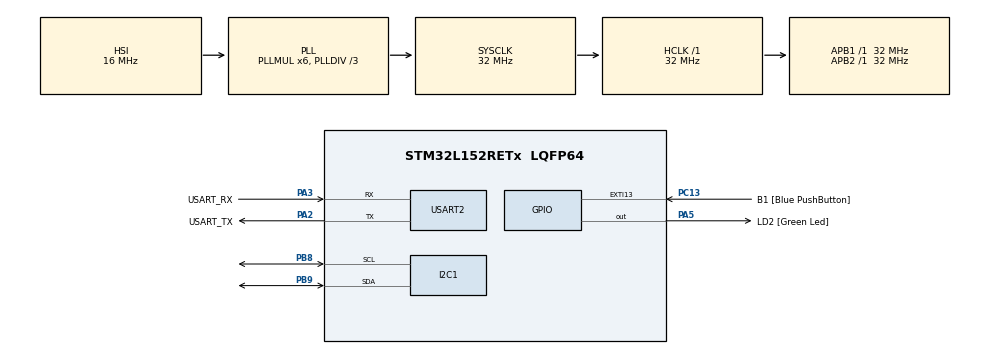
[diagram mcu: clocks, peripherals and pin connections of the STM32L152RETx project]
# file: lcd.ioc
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Mcu.Family=STM32L1
Mcu.Name=STM32L152RETx
Mcu.Package=LQFP64
NVIC.PriorityGroup=NVIC_PRIORITYGROUP_0
PA13.GPIO_Label=TMS
PA13.Mode=Serial_Wire
PA13.Signal=SYS_JTMS-SWDIO
PA14.GPIO_Label=TCK
PA14.Mode=Serial_Wire
PA14.Signal=SYS_JTCK-SWCLK
PA2.GPIO_Label=USART_TX
PA2.Mode=Asynchronous
PA2.Signal=USART2_TX
PA3.GPIO_Label=USART_RX
PA3.Mode=Asynchronous
PA3.Signal=USART2_RX
PA5.GPIO_Label=LD2 [Green Led]
PA5.Signal=GPIO_Output
PB3.GPIO_Label=SWO
PB3.Signal=SYS_JTDO-TRACESWO
PB8.Mode=I2C
PB8.Signal=I2C1_SCL
PB9.Mode=I2C
PB9.Signal=I2C1_SDA
PC13-WKUP2.GPIO_Label=B1 [Blue PushButton]
PC13-WKUP2.Signal=GPXTI13
PC14-OSC32_IN.Mode=LSE-External-Oscillator
PC14-OSC32_IN.Signal=RCC_OSC32_IN
PC15-OSC32_OUT.Mode=LSE-External-Oscillator
PC15-OSC32_OUT.Signal=RCC_OSC32_OUT
PH0-OSC_IN.Mode=HSE-External-Clock-Source
PH0-OSC_IN.Signal=RCC_OSC_IN
PH1-OSC_OUT.Signal=RCC_OSC_OUT
ProjectManager.HeapSize=0x200
ProjectManager.StackSize=0x400
ProjectManager.TargetToolchain=STM32CubeIDE
RCC.48MHZClocksFreq_Value=48000000
RCC.AHBFreq_Value=32000000
RCC.APB1Freq_Value=32000000
RCC.APB1TimFreq_Value=32000000
RCC.APB2Freq_Value=32000000
RCC.APB2TimFreq_Value=32000000
RCC.HCLKFreq_Value=32000000
RCC.HSE_VALUE=8000000
RCC.HSI_VALUE=16000000
RCC.MSI_VALUE=2097000
RCC.PLLDIV=RCC_PLL_DIV3
RCC.PLLMUL=RCC_PLL_MUL6
RCC.RTCClockSelectionVirtual=RCC_RTCCLKSOURCE_LSE
RCC.SYSCLKFreq_VALUE=32000000
RCC.SYSCLKSource=RCC_SYSCLKSOURCE_PLLCLK
RCC.USBOutput=48000000
RCC.VCOOutputFreq_Value=96000000
USART2.VirtualMode=VM_ASYNC
board=NUCLEO-L152RE

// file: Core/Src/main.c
/* USER CODE BEGIN Header */
/**
  ******************************************************************************
  * @file           : main.c
  * @brief          : Main program body
  ******************************************************************************
  * @attention
  *
  * Copyright (c) 2025 STMicroelectronics.
  * All rights reserved.
  *
  * This software is licensed under terms that can be found in the LICENSE file
  * in the root directory of this software component.
  * If no LICENSE file comes with this software, it is provided AS-IS.
  *
  ******************************************************************************
  */
/* USER CODE END Header */
#include "main.h"

/* USER CODE BEGIN Includes */
#include "stdio.h"
#include "string.h"
#include "LCD_I2C.h"
/* USER CODE END Includes */

I2C_HandleTypeDef hi2c1;

UART_HandleTypeDef huart2;

void SystemClock_Config(void);
static void MX_GPIO_Init(void);
static void MX_USART2_UART_Init(void);
static void MX_I2C1_Init(void);

/* USER CODE BEGIN 0 */
void LCD_FullPixelTest(I2C_HandleTypeDef *hi2c) {
    LCD_Command(hi2c, 0x80);  // Ligne 1
    for (int i = 0; i < 16; i++) {
        LCD_Write(hi2c, 0xFF);  // Pixel plein
    }

    LCD_Command(hi2c, 0xC0);  // Ligne 2
    for (int i = 0; i < 16; i++) {
        LCD_Write(hi2c, 0xFF);  // Pixel plein
    }
}

/* USER CODE END 0 */

int main(void)
{

  /* MCU Configuration--------------------------------------------------------*/

  /* Reset of all peripherals, Initializes the Flash interface and the Systick. */
  HAL_Init();

  /* Configure the system clock */
  SystemClock_Config();

  /* Initialize all configured peripherals */
  MX_GPIO_Init();
  MX_USART2_UART_Init();
  MX_I2C1_Init();
  /* USER CODE BEGIN 2 */
  LCD_Init(&hi2c1);
  LCD_SetRGB(&hi2c1, 255, 255, 255); // Allume le rétroéclairage
  LCD_FullPixelTest(&hi2c1);        // TEST d'affichage plein

  LCD_SetText(&hi2c1, "DFRobot 1602 RGB", 0);
  LCD_SetText(&hi2c1, "LCD STM32 Test", 1);
  /* USER CODE END 2 */

  /* Infinite loop */
  while (1)
  {

    /* USER CODE BEGIN 3 */
	  // Affichage sur LCD 16x2​
	  LCD_SetRGB(&hi2c1, 255, 255, 255);  // blanc allumé
	          HAL_Delay(500);
	          LCD_SetRGB(&hi2c1, 255, 0, 0);        // éteint
	          HAL_Delay(500);
	          LCD_SetRGB(&hi2c1, 0, 255, 0);  // blanc allumé
	         	          HAL_Delay(500);
	         	          LCD_SetRGB(&hi2c1, 0, 0, 255);        // éteint
	         	          HAL_Delay(500);

  }
  /* USER CODE END 3 */
}

void SystemClock_Config(void)
{
  RCC_OscInitTypeDef RCC_OscInitStruct = {0};
  RCC_ClkInitTypeDef RCC_ClkInitStruct = {0};

  /** Configure the main internal regulator output voltage
  */
  __HAL_PWR_VOLTAGESCALING_CONFIG(PWR_REGULATOR_VOLTAGE_SCALE1);

  /** Initializes the RCC Oscillators according to the specified parameters
  * in the RCC_OscInitTypeDef structure.
  */
  RCC_OscInitStruct.OscillatorType = RCC_OSCILLATORTYPE_HSI;
  RCC_OscInitStruct.HSIState = RCC_HSI_ON;
  RCC_OscInitStruct.HSICalibrationValue = RCC_HSICALIBRATION_DEFAULT;
  RCC_OscInitStruct.PLL.PLLState = RCC_PLL_ON;
  RCC_OscInitStruct.PLL.PLLSource = RCC_PLLSOURCE_HSI;
  RCC_OscInitStruct.PLL.PLLMUL = RCC_PLL_MUL6;
  RCC_OscInitStruct.PLL.PLLDIV = RCC_PLL_DIV3;
  if (HAL_RCC_OscConfig(&RCC_OscInitStruct) != HAL_OK)
  {
    Error_Handler();
  }

  /** Initializes the CPU, AHB and APB buses clocks
  */
  RCC_ClkInitStruct.ClockType = RCC_CLOCKTYPE_HCLK|RCC_CLOCKTYPE_SYSCLK
                              |RCC_CLOCKTYPE_PCLK1|RCC_CLOCKTYPE_PCLK2;
  RCC_ClkInitStruct.SYSCLKSource = RCC_SYSCLKSOURCE_PLLCLK;
  RCC_ClkInitStruct.AHBCLKDivider = RCC_SYSCLK_DIV1;
  RCC_ClkInitStruct.APB1CLKDivider = RCC_HCLK_DIV1;
  RCC_ClkInitStruct.APB2CLKDivider = RCC_HCLK_DIV1;

  if (HAL_RCC_ClockConfig(&RCC_ClkInitStruct, FLASH_LATENCY_1) != HAL_OK)
  {
    Error_Handler();
  }
}

static void MX_I2C1_Init(void)
{

  hi2c1.Instance = I2C1;
  hi2c1.Init.ClockSpeed = 100000;
  hi2c1.Init.DutyCycle = I2C_DUTYCYCLE_2;
  hi2c1.Init.OwnAddress1 = 0;
  hi2c1.Init.AddressingMode = I2C_ADDRESSINGMODE_7BIT;
  hi2c1.Init.DualAddressMode = I2C_DUALADDRESS_DISABLE;
  hi2c1.Init.OwnAddress2 = 0;
  hi2c1.Init.GeneralCallMode = I2C_GENERALCALL_DISABLE;
  hi2c1.Init.NoStretchMode = I2C_NOSTRETCH_DISABLE;
  if (HAL_I2C_Init(&hi2c1) != HAL_OK)
  {
    Error_Handler();
  }

}

static void MX_USART2_UART_Init(void)
{

  huart2.Instance = USART2;
  huart2.Init.BaudRate = 115200;
  huart2.Init.WordLength = UART_WORDLENGTH_8B;
  huart2.Init.StopBits = UART_STOPBITS_1;
  huart2.Init.Parity = UART_PARITY_NONE;
  huart2.Init.Mode = UART_MODE_TX_RX;
  huart2.Init.HwFlowCtl = UART_HWCONTROL_NONE;
  huart2.Init.OverSampling = UART_OVERSAMPLING_16;
  if (HAL_UART_Init(&huart2) != HAL_OK)
  {
    Error_Handler();
  }

}

static void MX_GPIO_Init(void)
{
  GPIO_InitTypeDef GPIO_InitStruct = {0};

  /* GPIO Ports Clock Enable */
  __HAL_RCC_GPIOC_CLK_ENABLE();
  __HAL_RCC_GPIOH_CLK_ENABLE();
  __HAL_RCC_GPIOA_CLK_ENABLE();
  __HAL_RCC_GPIOB_CLK_ENABLE();

  /*Configure GPIO pin Output Level */
  HAL_GPIO_WritePin(LD2_GPIO_Port, LD2_Pin, GPIO_PIN_RESET);

  /*Configure GPIO pin : B1_Pin */
  GPIO_InitStruct.Pin = B1_Pin;
  GPIO_InitStruct.Mode = GPIO_MODE_IT_RISING;
  GPIO_InitStruct.Pull = GPIO_NOPULL;
  HAL_GPIO_Init(B1_GPIO_Port, &GPIO_InitStruct);

  /*Configure GPIO pin : LD2_Pin */
  GPIO_InitStruct.Pin = LD2_Pin;
  GPIO_InitStruct.Mode = GPIO_MODE_OUTPUT_PP;
  GPIO_InitStruct.Pull = GPIO_NOPULL;
  GPIO_InitStruct.Speed = GPIO_SPEED_FREQ_LOW;
  HAL_GPIO_Init(LD2_GPIO_Port, &GPIO_InitStruct);

}

void Error_Handler(void)
{
  __disable_irq();
  while (1)
  {
  }
}
